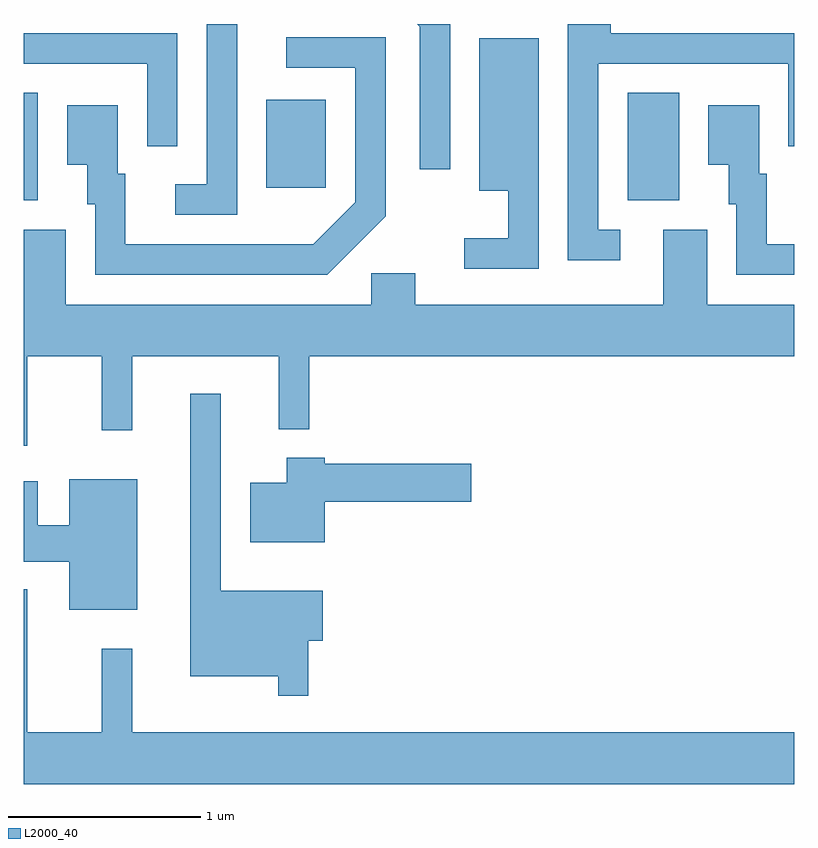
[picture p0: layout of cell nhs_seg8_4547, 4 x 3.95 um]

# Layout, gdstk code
import gdstk
lib = gdstk.Library(unit=1e-6, precision=1e-09)
def R(c, l, rs):  # rectangles x0, y0, x1, y1
    for r in rs: c.add(gdstk.rectangle(r[:2], r[2:], *l))
def P(c, l, *ps):  # polygons
    for p in ps: c.add(gdstk.Polygon(p, *l))
L2000_40 = (2000, 40)

nhs_seg8_4547 = lib.new_cell('nhs_seg8_4547')
R(nhs_seg8_4547, L2000_40, [(321.611,1859.426,321.684,1859.984), (324.746,1859.426,325.014,1859.984), (322.871,1859.491,323.179,1859.949)])
P(nhs_seg8_4547, L2000_40, [(324.708,1859.274),(324.594,1859.274),(324.594,1860.136),(325.581,1860.136),(325.581,1859.708),(325.611,1859.708),(325.611,1860.294),(324.659,1860.294),(324.659,1860.342),(324.436,1860.342),(324.436,1859.116),(324.708,1859.116)],
  [(322.719,1860.342),(322.561,1860.342),(322.561,1859.509),(322.398,1859.509),(322.398,1859.351),(322.719,1859.351)],
  [(323.824,1860.342),(323.653,1860.342),(323.666,1860.329),(323.666,1859.588),(323.824,1859.588)],
  [(322.409,1860.294),(321.611,1860.294),(321.611,1860.136),(322.251,1860.136),(322.251,1859.708),(322.409,1859.708)],
  [(323.489,1859.344),(323.489,1860.274),(322.973,1860.274),(322.973,1860.116),(323.331,1860.116),(323.331,1859.417),(323.114,1859.199),(322.139,1859.199),(322.139,1859.564),(322.099,1859.564),(322.099,1859.919),(321.836,1859.919),(321.836,1859.611),(321.941,1859.611),(321.941,1859.406),(321.981,1859.406),(321.981,1859.041),(323.187,1859.041)],
  [(324.284,1860.269),(323.976,1860.269),(323.976,1859.476),(324.126,1859.476),(324.126,1859.229),(323.898,1859.229),(323.898,1859.071),(324.284,1859.071)],
  [(325.611,1859.199),(325.469,1859.199),(325.469,1859.564),(325.429,1859.564),(325.429,1859.919),(325.166,1859.919),(325.166,1859.611),(325.271,1859.611),(325.271,1859.406),(325.311,1859.406),(325.311,1859.041),(325.611,1859.041)],
  [(321.629,1858.616),(322.016,1858.616),(322.016,1858.233),(322.174,1858.233),(322.174,1858.616),(322.936,1858.616),(322.936,1858.238),(323.094,1858.238),(323.094,1858.616),(325.611,1858.616),(325.611,1858.884),(325.159,1858.884),(325.159,1859.274),(324.931,1859.274),(324.931,1858.884),(323.644,1858.884),(323.644,1859.049),(323.416,1859.049),(323.416,1858.884),(321.829,1858.884),(321.829,1859.274),(321.611,1859.274),(321.611,1858.153),(321.629,1858.153)],
  [(323.089,1857.141),(323.164,1857.141),(323.164,1857.399),(322.634,1857.399),(322.634,1858.423),(322.476,1858.423),(322.476,1856.956),(322.931,1856.956),(322.931,1856.853),(323.089,1856.853)],
  [(323.174,1857.861),(323.934,1857.861),(323.934,1858.059),(323.174,1858.059),(323.174,1858.089),(322.976,1858.089),(322.976,1857.959),(322.786,1857.959),(322.786,1857.651),(323.174,1857.651)],
  [(322.199,1857.979),(321.846,1857.979),(321.846,1857.739),(321.684,1857.739),(321.684,1857.969),(321.611,1857.969),(321.611,1857.551),(321.846,1857.551),(321.846,1857.301),(322.199,1857.301)],
  [(325.611,1856.664),(322.174,1856.664),(322.174,1857.098),(322.016,1857.098),(322.016,1856.664),(321.629,1856.664),(321.629,1857.408),(321.611,1857.408),(321.611,1856.396),(325.611,1856.396)])

lib.write_gds('nhs_seg8_4547.gds')
